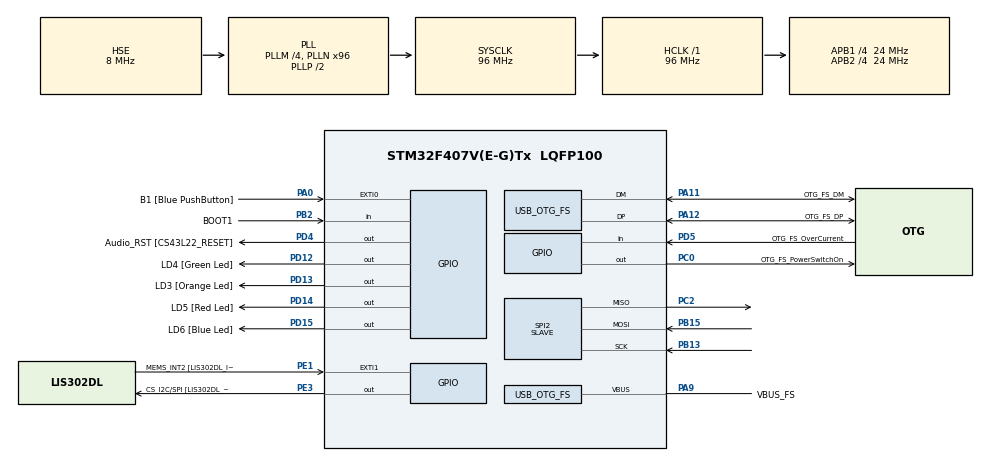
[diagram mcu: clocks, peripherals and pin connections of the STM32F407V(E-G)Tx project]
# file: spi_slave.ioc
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Mcu.Family=STM32F4
Mcu.Name=STM32F407V(E-G)Tx
Mcu.Package=LQFP100
NVIC.OTG_FS_IRQn=true\:0\:0\:false\:false\:true\:true\:true\:true
NVIC.PriorityGroup=NVIC_PRIORITYGROUP_0
PA0-WKUP.GPIO_Label=B1 [Blue PushButton]
PA0-WKUP.GPIO_ModeDefaultEXTI=GPIO_MODE_EVT_RISING
PA0-WKUP.GPIO_PuPd=GPIO_NOPULL
PA0-WKUP.Signal=GPXTI0
PA10.GPIO_Label=OTG_FS_ID
PA10.GPIO_Mode=GPIO_MODE_AF_PP
PA10.GPIO_PuPd=GPIO_NOPULL
PA10.GPIO_Speed=GPIO_SPEED_FREQ_LOW
PA10.Signal=USB_OTG_FS_ID
PA11.GPIO_Label=OTG_FS_DM
PA11.GPIO_Mode=GPIO_MODE_AF_PP
PA11.GPIO_PuPd=GPIO_NOPULL
PA11.GPIO_Speed=GPIO_SPEED_FREQ_LOW
PA11.Mode=Host_Only
PA11.Signal=USB_OTG_FS_DM
PA12.GPIO_Label=OTG_FS_DP
PA12.GPIO_Mode=GPIO_MODE_AF_PP
PA12.GPIO_PuPd=GPIO_NOPULL
PA12.GPIO_Speed=GPIO_SPEED_FREQ_LOW
PA12.Mode=Host_Only
PA12.Signal=USB_OTG_FS_DP
PA13.GPIO_Label=SWDIO
PA13.Mode=Serial_Wire
PA13.Signal=SYS_JTMS-SWDIO
PA14.GPIO_Label=SWCLK
PA14.Mode=Serial_Wire
PA14.Signal=SYS_JTCK-SWCLK
PA4.GPIO_Label=I2S3_WS [CS43L22_LRCK]
PA4.GPIO_Mode=GPIO_MODE_AF_PP
PA4.GPIO_PuPd=GPIO_NOPULL
PA4.GPIO_Speed=GPIO_SPEED_FREQ_LOW
PA4.Signal=I2S3_WS
PA5.GPIO_Label=SPI1_SCK [LIS302DL_SCL/SPC]
PA5.GPIO_Mode=GPIO_MODE_AF_PP
PA5.GPIO_PuPd=GPIO_NOPULL
PA5.GPIO_Speed=GPIO_SPEED_FREQ_LOW
PA5.Signal=SPI1_SCK
PA6.GPIO_Label=SPI1_MISO [LIS302DL_SDO]
PA6.GPIO_Mode=GPIO_MODE_AF_PP
PA6.GPIO_PuPd=GPIO_NOPULL
PA6.GPIO_Speed=GPIO_SPEED_FREQ_LOW
PA6.Signal=SPI1_MISO
PA7.GPIO_Label=SPI1_MOSI [LIS302DL_SDA/SDI/SDO]
PA7.GPIO_Mode=GPIO_MODE_AF_PP
PA7.GPIO_PuPd=GPIO_NOPULL
PA7.GPIO_Speed=GPIO_SPEED_FREQ_LOW
PA7.Signal=SPI1_MOSI
PA9.GPIO_Label=VBUS_FS
PA9.GPIO_Mode=GPIO_MODE_INPUT
PA9.GPIO_PuPd=GPIO_NOPULL
PA9.Mode=Activate_VBUS
PA9.Signal=USB_OTG_FS_VBUS
PB10.GPIO_Label=CLK_IN [MP45DT02_CLK]
PB10.GPIO_Mode=GPIO_MODE_AF_PP
PB10.GPIO_PuPd=GPIO_NOPULL
PB10.GPIO_Speed=GPIO_SPEED_FREQ_LOW
PB10.Signal=I2S2_CK
PB13.Mode=Full_Duplex_Slave
PB13.Signal=SPI2_SCK
PB15.Mode=Full_Duplex_Slave
PB15.Signal=SPI2_MOSI
PB2.GPIO_Label=BOOT1
PB2.GPIO_Mode=GPIO_MODE_INPUT
PB2.GPIO_PuPd=GPIO_NOPULL
PB2.Signal=GPIO_Input
PB3.GPIO_Label=SWO
PB3.Signal=SYS_JTDO-SWO
PB6.GPIO_Label=Audio_SCL [CS43L22_SCL]
PB6.GPIO_Mode=GPIO_MODE_AF_OD
PB6.GPIO_Pu=GPIO_PULLUP
PB6.GPIO_PuPd=GPIO_NOPULL
PB6.GPIO_Speed=GPIO_SPEED_FREQ_LOW
PB6.Signal=I2C1_SCL
PB9.GPIO_Label=Audio_SDA [CS43L22_SDA]
PB9.GPIO_Mode=GPIO_MODE_AF_OD
PB9.GPIO_Pu=GPIO_PULLUP
PB9.GPIO_PuPd=GPIO_NOPULL
PB9.GPIO_Speed=GPIO_SPEED_FREQ_LOW
PB9.Signal=I2C1_SDA
PC0.GPIO_Label=OTG_FS_PowerSwitchOn
PC0.GPIO_PuPd=GPIO_NOPULL
PC0.GPIO_Speed=GPIO_SPEED_FREQ_LOW
PC0.PinState=GPIO_PIN_SET
PC0.Signal=GPIO_Output
PC10.GPIO_Label=I2S3_SCK [CS43L22_SCLK]
PC10.GPIO_Mode=GPIO_MODE_AF_PP
PC10.GPIO_PuPd=GPIO_NOPULL
PC10.GPIO_Speed=GPIO_SPEED_FREQ_LOW
PC10.Signal=I2S3_CK
PC12.GPIO_Label=I2S3_SD [CS43L22_SDIN]
PC12.GPIO_Mode=GPIO_MODE_AF_PP
PC12.GPIO_PuPd=GPIO_NOPULL
PC12.GPIO_Speed=GPIO_SPEED_FREQ_LOW
PC12.Signal=I2S3_SD
PC14-OSC32_IN.GPIO_Label=PC14-OSC32_IN
PC14-OSC32_IN.Mode=LSE-External-Oscillator
PC14-OSC32_IN.Signal=RCC_OSC32_IN
PC15-OSC32_OUT.GPIO_Label=PC15-OSC32_OUT
PC15-OSC32_OUT.Mode=LSE-External-Oscillator
PC15-OSC32_OUT.Signal=RCC_OSC32_OUT
PC2.Mode=Full_Duplex_Slave
PC2.Signal=SPI2_MISO
PC3.GPIO_Label=PDM_OUT [MP45DT02_DOUT]
PC3.GPIO_Mode=GPIO_MODE_AF_PP
PC3.GPIO_PuPd=GPIO_NOPULL
PC3.GPIO_Speed=GPIO_SPEED_FREQ_LOW
PC3.Signal=I2S2_SD
PC7.GPIO_Label=I2S3_MCK [CS43L22_MCLK]
PC7.GPIO_Mode=GPIO_MODE_AF_PP
PC7.GPIO_PuPd=GPIO_NOPULL
PC7.GPIO_Speed=GPIO_SPEED_FREQ_LOW
PC7.Signal=I2S3_MCK
PD12.GPIO_Label=LD4 [Green Led]
PD12.GPIO_PuPd=GPIO_NOPULL
PD12.GPIO_Speed=GPIO_SPEED_FREQ_LOW
PD12.Signal=GPIO_Output
PD13.GPIO_Label=LD3 [Orange Led]
PD13.GPIO_PuPd=GPIO_NOPULL
PD13.GPIO_Speed=GPIO_SPEED_FREQ_LOW
PD13.Signal=GPIO_Output
PD14.GPIO_Label=LD5 [Red Led]
PD14.GPIO_PuPd=GPIO_NOPULL
PD14.GPIO_Speed=GPIO_SPEED_FREQ_LOW
PD14.Signal=GPIO_Output
PD15.GPIO_Label=LD6 [Blue Led]
PD15.GPIO_PuPd=GPIO_NOPULL
PD15.GPIO_Speed=GPIO_SPEED_FREQ_LOW
PD15.Signal=GPIO_Output
PD4.GPIO_Label=Audio_RST [CS43L22_RESET]
PD4.GPIO_PuPd=GPIO_NOPULL
PD4.GPIO_Speed=GPIO_SPEED_FREQ_LOW
PD4.Signal=GPIO_Output
PD5.GPIO_Label=OTG_FS_OverCurrent
PD5.GPIO_Mode=GPIO_MODE_INPUT
PD5.GPIO_PuPd=GPIO_NOPULL
PD5.Signal=GPIO_Input
PE1.GPIO_Label=MEMS_INT2 [LIS302DL_INT2]
PE1.GPIO_ModeDefaultEXTI=GPIO_MODE_EVT_RISING
PE1.GPIO_PuPd=GPIO_NOPULL
PE1.Signal=GPXTI1
PE3.GPIO_Label=CS_I2C/SPI [LIS302DL_CS_I2C/SPI]
PE3.GPIO_PuPd=GPIO_NOPULL
PE3.GPIO_Speed=GPIO_SPEED_FREQ_LOW
PE3.Signal=GPIO_Output
PH0-OSC_IN.GPIO_Label=PH0-OSC_IN
PH0-OSC_IN.Mode=HSE-External-Oscillator
PH0-OSC_IN.Signal=RCC_OSC_IN
PH1-OSC_OUT.GPIO_Label=PH1-OSC_OUT
PH1-OSC_OUT.Mode=HSE-External-Oscillator
PH1-OSC_OUT.Signal=RCC_OSC_OUT
ProjectManager.HeapSize=0x200
ProjectManager.StackSize=0x400
ProjectManager.TargetToolchain=STM32CubeIDE
RCC.48MHZClocksFreq_Value=48000000
RCC.AHBFreq_Value=96000000
RCC.APB1CLKDivider=RCC_HCLK_DIV4
RCC.APB1Freq_Value=24000000
RCC.APB1TimFreq_Value=48000000
RCC.APB2CLKDivider=RCC_HCLK_DIV4
RCC.APB2Freq_Value=24000000
RCC.APB2TimFreq_Value=48000000
RCC.CortexFreq_Value=96000000
RCC.HCLKFreq_Value=96000000
RCC.HSE_VALUE=8000000
RCC.HSI_VALUE=16000000
RCC.PLLM=4
RCC.PLLN=96
RCC.SYSCLKFreq_VALUE=96000000
RCC.SYSCLKSource=RCC_SYSCLKSOURCE_PLLCLK
RCC.VCOOutputFreq_Value=192000000
SPI2.Direction=SPI_DIRECTION_2LINES
SPI2.Mode=SPI_MODE_SLAVE
SPI2.VirtualType=VM_SLAVE
USB_OTG_FS.VirtualMode=Host_Only
USB_OTG_FS.phy_itface=HCD_PHY_EMBEDDED
board=STM32F407G-DISC1

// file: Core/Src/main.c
/* USER CODE BEGIN Header */
/**
  ******************************************************************************
  * @file           : main.c
  * @brief          : Main program body
  ******************************************************************************
  * @attention
  *
  * Copyright (c) 2024 STMicroelectronics.
  * All rights reserved.
  *
  * This software is licensed under terms that can be found in the LICENSE file
  * in the root directory of this software component.
  * If no LICENSE file comes with this software, it is provided AS-IS.
  *
  ******************************************************************************
  */
/* USER CODE END Header */
#include "main.h"

SPI_HandleTypeDef hspi2;

HCD_HandleTypeDef hhcd_USB_OTG_FS;

/* USER CODE BEGIN PV */
char message[] = {"Hello"};
char data[20];
/* USER CODE END PV */

void SystemClock_Config(void);
static void MX_GPIO_Init(void);
static void MX_SPI2_Init(void);
static void MX_USB_OTG_FS_HCD_Init(void);

int main(void)
{

  /* MCU Configuration--------------------------------------------------------*/

  /* Reset of all peripherals, Initializes the Flash interface and the Systick. */
  HAL_Init();

  /* Configure the system clock */
  SystemClock_Config();

  /* Initialize all configured peripherals */
  MX_GPIO_Init();
  MX_SPI2_Init();
  MX_USB_OTG_FS_HCD_Init();

  /* Infinite loop */
  while (1)
  {

    /* USER CODE BEGIN 3 */
    HAL_StatusTypeDef result = HAL_SPI_Receive(&hspi2, (uint8_t *)data, 8, HAL_MAX_DELAY);
    size_t data_is_equal = 0;
    if(result == HAL_OK){
      size_t count;
      for(count = 0; count < 5; ++count){
        if(data[count] != message[count]){
          data_is_equal = 1;
          break;
        }
      }
      if(data_is_equal == 0){
        HAL_GPIO_WritePin(LD3_GPIO_Port, LD3_Pin, GPIO_PIN_SET);
        HAL_Delay(100);
        HAL_GPIO_WritePin(LD3_GPIO_Port, LD3_Pin, GPIO_PIN_RESET);
        HAL_Delay(100);
      }
    }
  }
  /* USER CODE END 3 */
}

void SystemClock_Config(void)
{
  RCC_OscInitTypeDef RCC_OscInitStruct = {0};
  RCC_ClkInitTypeDef RCC_ClkInitStruct = {0};

  /** Configure the main internal regulator output voltage
  */
  __HAL_RCC_PWR_CLK_ENABLE();
  __HAL_PWR_VOLTAGESCALING_CONFIG(PWR_REGULATOR_VOLTAGE_SCALE1);

  /** Initializes the RCC Oscillators according to the specified parameters
  * in the RCC_OscInitTypeDef structure.
  */
  RCC_OscInitStruct.OscillatorType = RCC_OSCILLATORTYPE_HSE;
  RCC_OscInitStruct.HSEState = RCC_HSE_ON;
  RCC_OscInitStruct.PLL.PLLState = RCC_PLL_ON;
  RCC_OscInitStruct.PLL.PLLSource = RCC_PLLSOURCE_HSE;
  RCC_OscInitStruct.PLL.PLLM = 4;
  RCC_OscInitStruct.PLL.PLLN = 96;
  RCC_OscInitStruct.PLL.PLLP = RCC_PLLP_DIV2;
  RCC_OscInitStruct.PLL.PLLQ = 4;
  if (HAL_RCC_OscConfig(&RCC_OscInitStruct) != HAL_OK)
  {
    Error_Handler();
  }

  /** Initializes the CPU, AHB and APB buses clocks
  */
  RCC_ClkInitStruct.ClockType = RCC_CLOCKTYPE_HCLK|RCC_CLOCKTYPE_SYSCLK
                              |RCC_CLOCKTYPE_PCLK1|RCC_CLOCKTYPE_PCLK2;
  RCC_ClkInitStruct.SYSCLKSource = RCC_SYSCLKSOURCE_PLLCLK;
  RCC_ClkInitStruct.AHBCLKDivider = RCC_SYSCLK_DIV1;
  RCC_ClkInitStruct.APB1CLKDivider = RCC_HCLK_DIV4;
  RCC_ClkInitStruct.APB2CLKDivider = RCC_HCLK_DIV4;

  if (HAL_RCC_ClockConfig(&RCC_ClkInitStruct, FLASH_LATENCY_3) != HAL_OK)
  {
    Error_Handler();
  }
}

static void MX_SPI2_Init(void)
{

  /* SPI2 parameter configuration*/
  hspi2.Instance = SPI2;
  hspi2.Init.Mode = SPI_MODE_SLAVE;
  hspi2.Init.Direction = SPI_DIRECTION_2LINES;
  hspi2.Init.DataSize = SPI_DATASIZE_8BIT;
  hspi2.Init.CLKPolarity = SPI_POLARITY_LOW;
  hspi2.Init.CLKPhase = SPI_PHASE_1EDGE;
  hspi2.Init.NSS = SPI_NSS_SOFT;
  hspi2.Init.FirstBit = SPI_FIRSTBIT_MSB;
  hspi2.Init.TIMode = SPI_TIMODE_DISABLE;
  hspi2.Init.CRCCalculation = SPI_CRCCALCULATION_DISABLE;
  hspi2.Init.CRCPolynomial = 10;
  if (HAL_SPI_Init(&hspi2) != HAL_OK)
  {
    Error_Handler();
  }

}

static void MX_USB_OTG_FS_HCD_Init(void)
{

  hhcd_USB_OTG_FS.Instance = USB_OTG_FS;
  hhcd_USB_OTG_FS.Init.Host_channels = 8;
  hhcd_USB_OTG_FS.Init.speed = HCD_SPEED_FULL;
  hhcd_USB_OTG_FS.Init.dma_enable = DISABLE;
  hhcd_USB_OTG_FS.Init.phy_itface = HCD_PHY_EMBEDDED;
  hhcd_USB_OTG_FS.Init.Sof_enable = DISABLE;
  if (HAL_HCD_Init(&hhcd_USB_OTG_FS) != HAL_OK)
  {
    Error_Handler();
  }

}

static void MX_GPIO_Init(void)
{
  GPIO_InitTypeDef GPIO_InitStruct = {0};

  /* GPIO Ports Clock Enable */
  __HAL_RCC_GPIOE_CLK_ENABLE();
  __HAL_RCC_GPIOC_CLK_ENABLE();
  __HAL_RCC_GPIOH_CLK_ENABLE();
  __HAL_RCC_GPIOA_CLK_ENABLE();
  __HAL_RCC_GPIOB_CLK_ENABLE();
  __HAL_RCC_GPIOD_CLK_ENABLE();

  /*Configure GPIO pin Output Level */
  HAL_GPIO_WritePin(CS_I2C_SPI_GPIO_Port, CS_I2C_SPI_Pin, GPIO_PIN_RESET);

  /*Configure GPIO pin Output Level */
  HAL_GPIO_WritePin(OTG_FS_PowerSwitchOn_GPIO_Port, OTG_FS_PowerSwitchOn_Pin, GPIO_PIN_SET);

  /*Configure GPIO pin Output Level */
  HAL_GPIO_WritePin(GPIOD, LD4_Pin|LD3_Pin|LD5_Pin|LD6_Pin
                          |Audio_RST_Pin, GPIO_PIN_RESET);

  /*Configure GPIO pin : CS_I2C_SPI_Pin */
  GPIO_InitStruct.Pin = CS_I2C_SPI_Pin;
  GPIO_InitStruct.Mode = GPIO_MODE_OUTPUT_PP;
  GPIO_InitStruct.Pull = GPIO_NOPULL;
  GPIO_InitStruct.Speed = GPIO_SPEED_FREQ_LOW;
  HAL_GPIO_Init(CS_I2C_SPI_GPIO_Port, &GPIO_InitStruct);

  /*Configure GPIO pin : OTG_FS_PowerSwitchOn_Pin */
  GPIO_InitStruct.Pin = OTG_FS_PowerSwitchOn_Pin;
  GPIO_InitStruct.Mode = GPIO_MODE_OUTPUT_PP;
  GPIO_InitStruct.Pull = GPIO_NOPULL;
  GPIO_InitStruct.Speed = GPIO_SPEED_FREQ_LOW;
  HAL_GPIO_Init(OTG_FS_PowerSwitchOn_GPIO_Port, &GPIO_InitStruct);

  /*Configure GPIO pin : PDM_OUT_Pin */
  GPIO_InitStruct.Pin = PDM_OUT_Pin;
  GPIO_InitStruct.Mode = GPIO_MODE_AF_PP;
  GPIO_InitStruct.Pull = GPIO_NOPULL;
  GPIO_InitStruct.Speed = GPIO_SPEED_FREQ_LOW;
  GPIO_InitStruct.Alternate = GPIO_AF5_SPI2;
  HAL_GPIO_Init(PDM_OUT_GPIO_Port, &GPIO_InitStruct);

  /*Configure GPIO pin : B1_Pin */
  GPIO_InitStruct.Pin = B1_Pin;
  GPIO_InitStruct.Mode = GPIO_MODE_EVT_RISING;
  GPIO_InitStruct.Pull = GPIO_NOPULL;
  HAL_GPIO_Init(B1_GPIO_Port, &GPIO_InitStruct);

  /*Configure GPIO pin : I2S3_WS_Pin */
  GPIO_InitStruct.Pin = I2S3_WS_Pin;
  GPIO_InitStruct.Mode = GPIO_MODE_AF_PP;
  GPIO_InitStruct.Pull = GPIO_NOPULL;
  GPIO_InitStruct.Speed = GPIO_SPEED_FREQ_LOW;
  GPIO_InitStruct.Alternate = GPIO_AF6_SPI3;
  HAL_GPIO_Init(I2S3_WS_GPIO_Port, &GPIO_InitStruct);

  /*Configure GPIO pins : SPI1_SCK_Pin SPI1_MISO_Pin SPI1_MOSI_Pin */
  GPIO_InitStruct.Pin = SPI1_SCK_Pin|SPI1_MISO_Pin|SPI1_MOSI_Pin;
  GPIO_InitStruct.Mode = GPIO_MODE_AF_PP;
  GPIO_InitStruct.Pull = GPIO_NOPULL;
  GPIO_InitStruct.Speed = GPIO_SPEED_FREQ_LOW;
  GPIO_InitStruct.Alternate = GPIO_AF5_SPI1;
  HAL_GPIO_Init(GPIOA, &GPIO_InitStruct);

  /*Configure GPIO pin : BOOT1_Pin */
  GPIO_InitStruct.Pin = BOOT1_Pin;
  GPIO_InitStruct.Mode = GPIO_MODE_INPUT;
  GPIO_InitStruct.Pull = GPIO_NOPULL;
  HAL_GPIO_Init(BOOT1_GPIO_Port, &GPIO_InitStruct);

  /*Configure GPIO pin : CLK_IN_Pin */
  GPIO_InitStruct.Pin = CLK_IN_Pin;
  GPIO_InitStruct.Mode = GPIO_MODE_AF_PP;
  GPIO_InitStruct.Pull = GPIO_NOPULL;
  GPIO_InitStruct.Speed = GPIO_SPEED_FREQ_LOW;
  GPIO_InitStruct.Alternate = GPIO_AF5_SPI2;
  HAL_GPIO_Init(CLK_IN_GPIO_Port, &GPIO_InitStruct);

  /*Configure GPIO pins : LD4_Pin LD3_Pin LD5_Pin LD6_Pin
                           Audio_RST_Pin */
  GPIO_InitStruct.Pin = LD4_Pin|LD3_Pin|LD5_Pin|LD6_Pin
                          |Audio_RST_Pin;
  GPIO_InitStruct.Mode = GPIO_MODE_OUTPUT_PP;
  GPIO_InitStruct.Pull = GPIO_NOPULL;
  GPIO_InitStruct.Speed = GPIO_SPEED_FREQ_LOW;
  HAL_GPIO_Init(GPIOD, &GPIO_InitStruct);

  /*Configure GPIO pins : I2S3_MCK_Pin I2S3_SCK_Pin I2S3_SD_Pin */
  GPIO_InitStruct.Pin = I2S3_MCK_Pin|I2S3_SCK_Pin|I2S3_SD_Pin;
  GPIO_InitStruct.Mode = GPIO_MODE_AF_PP;
  GPIO_InitStruct.Pull = GPIO_NOPULL;
  GPIO_InitStruct.Speed = GPIO_SPEED_FREQ_LOW;
  GPIO_InitStruct.Alternate = GPIO_AF6_SPI3;
  HAL_GPIO_Init(GPIOC, &GPIO_InitStruct);

  /*Configure GPIO pin : OTG_FS_OverCurrent_Pin */
  GPIO_InitStruct.Pin = OTG_FS_OverCurrent_Pin;
  GPIO_InitStruct.Mode = GPIO_MODE_INPUT;
  GPIO_InitStruct.Pull = GPIO_NOPULL;
  HAL_GPIO_Init(OTG_FS_OverCurrent_GPIO_Port, &GPIO_InitStruct);

  /*Configure GPIO pins : Audio_SCL_Pin Audio_SDA_Pin */
  GPIO_InitStruct.Pin = Audio_SCL_Pin|Audio_SDA_Pin;
  GPIO_InitStruct.Mode = GPIO_MODE_AF_OD;
  GPIO_InitStruct.Pull = GPIO_PULLUP;
  GPIO_InitStruct.Speed = GPIO_SPEED_FREQ_LOW;
  GPIO_InitStruct.Alternate = GPIO_AF4_I2C1;
  HAL_GPIO_Init(GPIOB, &GPIO_InitStruct);

  /*Configure GPIO pin : MEMS_INT2_Pin */
  GPIO_InitStruct.Pin = MEMS_INT2_Pin;
  GPIO_InitStruct.Mode = GPIO_MODE_EVT_RISING;
  GPIO_InitStruct.Pull = GPIO_NOPULL;
  HAL_GPIO_Init(MEMS_INT2_GPIO_Port, &GPIO_InitStruct);

}

void Error_Handler(void)
{
  __disable_irq();
  while (1)
  {
  }
}
